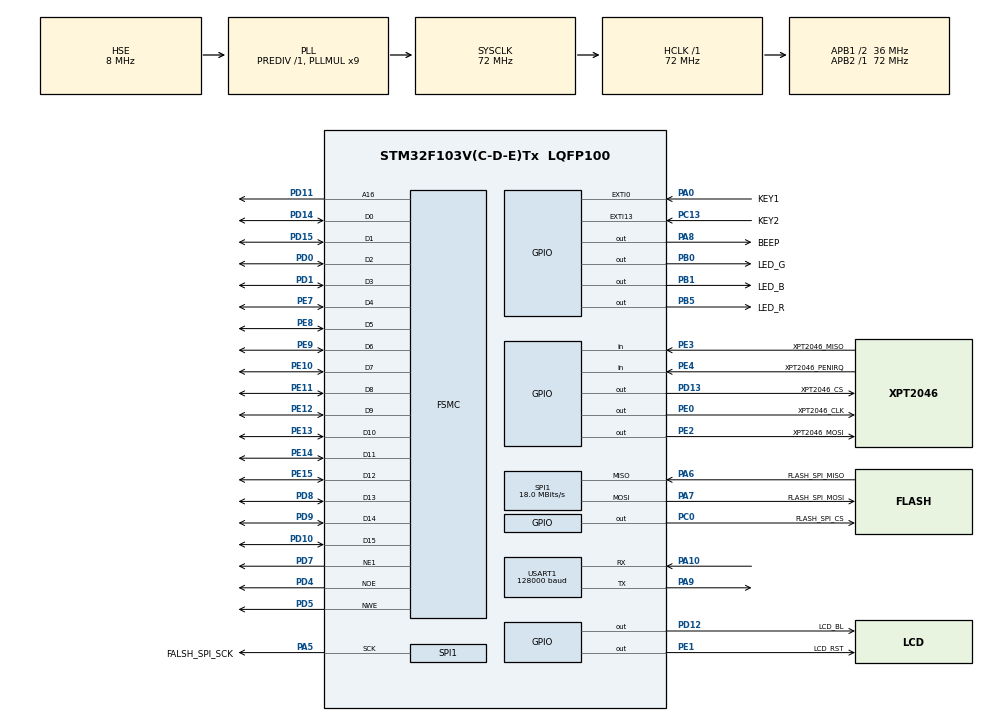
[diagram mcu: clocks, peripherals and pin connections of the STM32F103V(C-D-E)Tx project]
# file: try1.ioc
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FSMC.AddressSetupTime1=0
FSMC.BusTurnAroundDuration1=0
FSMC.DataSetupTime1=26
FSMC.ExtendedAddressSetupTime1=0
FSMC.ExtendedBusTurnAroundDuration1=0
FSMC.ExtendedDataSetupTime1=1
FSMC.ExtendedMode1=FSMC_EXTENDED_MODE_ENABLE
Mcu.Family=STM32F1
Mcu.Name=STM32F103V(C-D-E)Tx
Mcu.Package=LQFP100
NVIC.EXTI0_IRQn=true\:0\:0\:false\:false\:true\:true\:true\:true
NVIC.EXTI15_10_IRQn=true\:0\:0\:false\:false\:true\:true\:true\:true
NVIC.PriorityGroup=NVIC_PRIORITYGROUP_4
NVIC.TIM6_IRQn=true\:0\:0\:false\:false\:true\:true\:true\:true
NVIC.TIM7_IRQn=true\:0\:0\:false\:false\:true\:true\:true\:true
OSC_IN.Mode=HSE-External-Oscillator
OSC_IN.Signal=RCC_OSC_IN
OSC_OUT.Mode=HSE-External-Oscillator
OSC_OUT.Signal=RCC_OSC_OUT
PA0-WKUP.GPIO_Label=KEY1
PA0-WKUP.GPIO_ModeDefaultEXTI=GPIO_MODE_IT_RISING
PA0-WKUP.GPIO_PuPd=GPIO_PULLUP
PA0-WKUP.Signal=GPXTI0
PA10.Mode=Asynchronous
PA10.Signal=USART1_RX
PA5.GPIO_Label=FALSH_SPI_SCK
PA5.GPIO_Mode=GPIO_MODE_AF_PP
PA5.GPIO_Speed=GPIO_SPEED_FREQ_HIGH
PA5.Mode=Full_Duplex_Master
PA5.Signal=SPI1_SCK
PA6.GPIO_Label=FLASH_SPI_MISO
PA6.GPIO_Mode=GPIO_MODE_INPUT
PA6.GPIO_PuPd=GPIO_NOPULL
PA6.Mode=Full_Duplex_Master
PA6.Signal=SPI1_MISO
PA7.GPIO_Label=FLASH_SPI_MOSI
PA7.GPIO_Mode=GPIO_MODE_AF_PP
PA7.Mode=Full_Duplex_Master
PA7.Signal=SPI1_MOSI
PA8.GPIO_Label=BEEP
PA8.GPIO_Speed=GPIO_SPEED_FREQ_HIGH
PA8.Signal=GPIO_Output
PA9.Mode=Asynchronous
PA9.Signal=USART1_TX
PB0.GPIO_Label=LED_G
PB0.GPIO_ModeDefaultOutputPP=GPIO_MODE_OUTPUT_PP
PB0.GPIO_PuPd=GPIO_PULLUP
PB0.GPIO_Speed=GPIO_SPEED_FREQ_HIGH
PB0.PinState=GPIO_PIN_SET
PB0.Signal=GPIO_Output
PB1.GPIO_Label=LED_B
PB1.GPIO_ModeDefaultOutputPP=GPIO_MODE_OUTPUT_PP
PB1.GPIO_PuPd=GPIO_PULLUP
PB1.GPIO_Speed=GPIO_SPEED_FREQ_HIGH
PB1.PinState=GPIO_PIN_SET
PB1.Signal=GPIO_Output
PB5.GPIO_Label=LED_R
PB5.GPIO_PuPd=GPIO_PULLUP
PB5.GPIO_Speed=GPIO_SPEED_FREQ_HIGH
PB5.PinState=GPIO_PIN_SET
PB5.Signal=GPIO_Output
PC0.GPIO_Label=FLASH_SPI_CS
PC0.GPIO_Speed=GPIO_SPEED_FREQ_HIGH
PC0.PinState=GPIO_PIN_SET
PC0.Signal=GPIO_Output
PC13-TAMPER-RTC.GPIO_Label=KEY2
PC13-TAMPER-RTC.GPIO_ModeDefaultEXTI=GPIO_MODE_IT_RISING
PC13-TAMPER-RTC.GPIO_PuPd=GPIO_PULLUP
PC13-TAMPER-RTC.Signal=GPXTI13
PD0.Mode=16b-d1
PD0.Signal=FSMC_D2
PD1.Mode=16b-d1
PD1.Signal=FSMC_D3
PD10.Mode=16b-d1
PD10.Signal=FSMC_D15
PD11.Mode=A16_1
PD11.Signal=FSMC_A16
PD12.GPIO_Label=LCD_BL
PD12.GPIO_ModeDefaultOutputPP=GPIO_MODE_OUTPUT_PP
PD12.GPIO_PuPd=GPIO_NOPULL
PD12.GPIO_Speed=GPIO_SPEED_FREQ_HIGH
PD12.PinState=GPIO_PIN_RESET
PD12.Signal=GPIO_Output
PD13.GPIO_Label=XPT2046_CS
PD13.GPIO_Speed=GPIO_SPEED_FREQ_HIGH
PD13.Signal=GPIO_Output
PD14.GPIO_Mode=GPIO_MODE_AF_PP
PD14.GPIO_Speed_High_Default=GPIO_SPEED_FREQ_HIGH
PD14.Mode=16b-d1
PD14.Signal=FSMC_D0
PD15.Mode=16b-d1
PD15.Signal=FSMC_D1
PD4.Mode=Lcd1
PD4.Signal=FSMC_NOE
PD5.Mode=Lcd1
PD5.Signal=FSMC_NWE
PD7.Mode=NorPsramChipSelect1_1
PD7.Signal=FSMC_NE1
PD8.Mode=16b-d1
PD8.Signal=FSMC_D13
PD9.Mode=16b-d1
PD9.Signal=FSMC_D14
PE0.GPIO_Label=XPT2046_CLK
PE0.GPIO_PuPd=GPIO_NOPULL
PE0.GPIO_Speed=GPIO_SPEED_FREQ_HIGH
PE0.Signal=GPIO_Output
PE1.GPIO_Label=LCD_RST
PE1.GPIO_ModeDefaultOutputPP=GPIO_MODE_OUTPUT_PP
PE1.GPIO_PuPd=GPIO_NOPULL
PE1.GPIO_Speed=GPIO_SPEED_FREQ_HIGH
PE1.PinState=GPIO_PIN_RESET
PE1.Signal=GPIO_Output
PE10.Mode=16b-d1
PE10.Signal=FSMC_D7
PE11.Mode=16b-d1
PE11.Signal=FSMC_D8
PE12.Mode=16b-d1
PE12.Signal=FSMC_D9
PE13.Mode=16b-d1
PE13.Signal=FSMC_D10
PE14.Mode=16b-d1
PE14.Signal=FSMC_D11
PE15.Mode=16b-d1
PE15.Signal=FSMC_D12
PE2.GPIO_Label=XPT2046_MOSI
PE2.GPIO_Speed=GPIO_SPEED_FREQ_HIGH
PE2.Signal=GPIO_Output
PE3.GPIO_Label=XPT2046_MISO
PE3.GPIO_PuPd=GPIO_NOPULL
PE3.Signal=GPIO_Input
PE4.GPIO_Label=XPT2046_PENIRQ
PE4.GPIO_PuPd=GPIO_NOPULL
PE4.Signal=GPIO_Input
PE7.Mode=16b-d1
PE7.Signal=FSMC_D4
PE8.Mode=16b-d1
PE8.Signal=FSMC_D5
PE9.Mode=16b-d1
PE9.Signal=FSMC_D6
ProjectManager.HeapSize=0x200
ProjectManager.StackSize=0x400
ProjectManager.TargetToolchain=STM32CubeIDE
RCC.AHBFreq_Value=72000000
RCC.APB1CLKDivider=RCC_HCLK_DIV2
RCC.APB1Freq_Value=36000000
RCC.APB1TimFreq_Value=72000000
RCC.APB2Freq_Value=72000000
RCC.APB2TimFreq_Value=72000000
RCC.HCLKFreq_Value=72000000
RCC.PLLMUL=RCC_PLL_MUL9
RCC.PLLSourceVirtual=RCC_PLLSOURCE_HSE
RCC.SYSCLKFreq_VALUE=72000000
RCC.SYSCLKSource=RCC_SYSCLKSOURCE_PLLCLK
RCC.USBFreq_Value=72000000
SPI1.BaudRatePrescaler=SPI_BAUDRATEPRESCALER_4
SPI1.CLKPhase=SPI_PHASE_2EDGE
SPI1.CLKPolarity=SPI_POLARITY_HIGH
SPI1.CalculateBaudRate=18.0 MBits/s
SPI1.Direction=SPI_DIRECTION_2LINES
SPI1.Mode=SPI_MODE_MASTER
SPI1.VirtualType=VM_MASTER
TIM6.AutoReloadPreload=TIM_AUTORELOAD_PRELOAD_ENABLE
TIM6.Period=999
TIM6.Prescaler=71
TIM7.AutoReloadPreload=TIM_AUTORELOAD_PRELOAD_ENABLE
TIM7.Period=999
TIM7.Prescaler=71
USART1.BaudRate=128000
USART1.VirtualMode=VM_ASYNC
VP_SYS_VS_ND.Mode=No_Debug
VP_TIM6_VS_ClockSourceINT.Mode=Enable_Timer
VP_TIM7_VS_ClockSourceINT.Mode=Enable_Timer
board=custom

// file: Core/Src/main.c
/* USER CODE BEGIN Header */
/**
  ******************************************************************************
  * @file           : main.c
  * @brief          : Main program body
  ******************************************************************************
  * @attention
  *
  * Copyright (c) 2022 STMicroelectronics.
  * All rights reserved.
  *
  * This software is licensed under terms that can be found in the LICENSE file
  * in the root directory of this software component.
  * If no LICENSE file comes with this software, it is provided AS-IS.
  *
  ******************************************************************************
  */
/* USER CODE END Header */
#include "main.h"
#include "spi.h"
#include "tim.h"
#include "usart.h"
#include "gpio.h"
#include "fsmc.h"

/* USER CODE BEGIN Includes */
#include "key.h"
#include "led.h"
#include "touch.h"
#include "maze.h"
#include "beep.h"

/* USER CODE END Includes */

void SystemClock_Config(void);

/* USER CODE BEGIN 0 */

maze_t maze;
uint8_t ui_stat;
uint8_t light;
int32_t score[2];

/* USER CODE END 0 */

int main(void)
{

  /* MCU Configuration--------------------------------------------------------*/

  /* Reset of all peripherals, Initializes the Flash interface and the Systick. */
  HAL_Init();

  /* Configure the system clock */
  SystemClock_Config();

  /* Initialize all configured peripherals */
  MX_GPIO_Init();
  MX_USART1_UART_Init();
  MX_FSMC_Init();
  MX_SPI1_Init();
  MX_TIM6_Init();
  MX_TIM7_Init();
  /* USER CODE BEGIN 2 */
  ILI9341_Init ();

  light = 0;
  Calibrate_or_Get_TouchParaWithFlash(6,0);

  LED_B_Up;

  LCD_SetColors(WHITE, WHITE);
  LCD_Clear(0, 0, 240, 320);
  LCD_WELCOME_Draw();

  ui_stat = WELCOME_UI;
  HAL_TIM_Base_Start_IT(&htim7);

  MAZE_INIT();
  /* USER CODE END 2 */

  /* Infinite loop */
  /* USER CODE BEGIN WHILE */
  while (1)
  {
	  MAZE_CHECK();
	  XPT2046_TouchEvenHandler();
	  HAL_Delay(10);

    /* USER CODE END WHILE */

  }
}

void SystemClock_Config(void)
{
  RCC_OscInitTypeDef RCC_OscInitStruct = {0};
  RCC_ClkInitTypeDef RCC_ClkInitStruct = {0};

  /** Initializes the RCC Oscillators according to the specified parameters
  * in the RCC_OscInitTypeDef structure.
  */
  RCC_OscInitStruct.OscillatorType = RCC_OSCILLATORTYPE_HSE;
  RCC_OscInitStruct.HSEState = RCC_HSE_ON;
  RCC_OscInitStruct.HSEPredivValue = RCC_HSE_PREDIV_DIV1;
  RCC_OscInitStruct.HSIState = RCC_HSI_ON;
  RCC_OscInitStruct.PLL.PLLState = RCC_PLL_ON;
  RCC_OscInitStruct.PLL.PLLSource = RCC_PLLSOURCE_HSE;
  RCC_OscInitStruct.PLL.PLLMUL = RCC_PLL_MUL9;
  if (HAL_RCC_OscConfig(&RCC_OscInitStruct) != HAL_OK)
  {
    Error_Handler();
  }

  /** Initializes the CPU, AHB and APB buses clocks
  */
  RCC_ClkInitStruct.ClockType = RCC_CLOCKTYPE_HCLK|RCC_CLOCKTYPE_SYSCLK
                              |RCC_CLOCKTYPE_PCLK1|RCC_CLOCKTYPE_PCLK2;
  RCC_ClkInitStruct.SYSCLKSource = RCC_SYSCLKSOURCE_PLLCLK;
  RCC_ClkInitStruct.AHBCLKDivider = RCC_SYSCLK_DIV1;
  RCC_ClkInitStruct.APB1CLKDivider = RCC_HCLK_DIV2;
  RCC_ClkInitStruct.APB2CLKDivider = RCC_HCLK_DIV1;

  if (HAL_RCC_ClockConfig(&RCC_ClkInitStruct, FLASH_LATENCY_2) != HAL_OK)
  {
    Error_Handler();
  }
}

void Error_Handler(void)
{
  __disable_irq();
  while (1)
  {
  }
}
